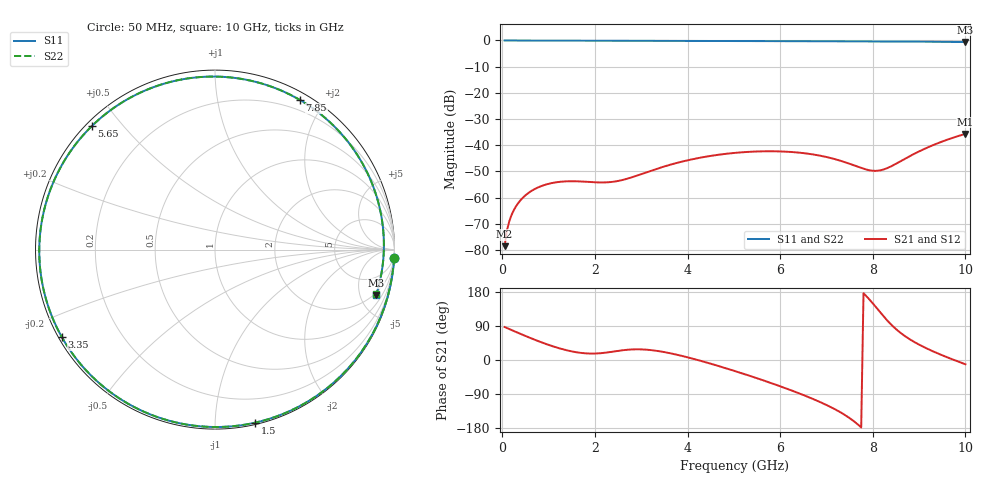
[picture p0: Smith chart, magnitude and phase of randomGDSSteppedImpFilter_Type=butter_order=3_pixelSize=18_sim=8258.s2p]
! freq	dB(S11)	phase(S11)	dB(S12)	phase(S12)
!  dB(S21)	phase(S21)	dB(S22)	phase(S22)
!S-par simulation data
#  GHz  S  DB  R 50
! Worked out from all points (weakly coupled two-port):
!   200 points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, 50 MHz to 10 GHz, reference 50 ohm
!   highest |S21| = -35.63 dB at 10 GHz (marker M1); lowest = -78.5 dB at 50 MHz (marker M2)
!   lowest |S11| = -0.6 dB at 10 GHz (marker M3), VSWR 28.70, Z = 87.4 - j340 ohm
!   |S11| at or under -10 dB: nowhere
!   |S22| runs from -0.6 to 0.0 dB; largest |S21 - S12| = 0
!   S11 on the Smith chart (normalised r, x): 50 MHz: 0, -43; 1.5 GHz: 0.01, -1.26; 3.35 GHz: 0.01, -0.26; 5.65 GHz: 0.02, +0.42; 7.85 GHz: 0.08, +1.72; 10 GHz: 1.75, -6.79
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0.05  -0.00 -2.7  -78.50 87.1  -78.50 87.1  -0.01 -2.6
0.1  -0.01 -5.4  -72.52 84.4  -72.52 84.4  -0.02 -5.3
0.2  -0.02 -10.8  -66.58 79.1  -66.58 79.1  -0.03 -10.8
0.3  -0.03 -16.2  -63.18 73.8  -63.18 73.8  -0.03 -16.2
0.45  -0.03 -24.2  -59.91 66.0  -59.91 66.0  -0.04 -24.2
0.9  -0.06 -47.7  -55.21 44.2  -55.21 44.2  -0.06 -47.7
1.5  -0.09 -76.8  -53.71 22.7  -53.71 22.7  -0.09 -76.9
1.75  -0.10 -88.2  -53.86 18.1  -53.86 18.1  -0.10 -88.2
2.45  -0.12 -117.3  -53.78 23.2  -53.78 23.2  -0.12 -117.3
3.35  -0.15 -150.4  -48.91 23.9  -48.91 23.9  -0.15 -150.3
3.4  -0.15 -152.1  -48.63 22.9  -48.63 22.9  -0.15 -152.1
4.2  -0.18 -178.7  -44.99 0.6  -44.99 0.6  -0.18 -178.7
5.05  -0.22 154.0  -42.85 -30.2  -42.85 -30.2  -0.22 154.1
5.65  -0.25 134.8  -42.30 -54.4  -42.30 -54.4  -0.25 134.9
6.2  -0.28 116.9  -42.51 -78.3  -42.51 -78.3  -0.28 117.1
6.7  -0.30 100.3  -43.46 -102.3  -43.46 -102.3  -0.30 100.4
7.3  -0.34 79.7  -45.89 -137.9  -45.89 -137.9  -0.33 79.9
7.85  -0.37 60.4  -49.21 170.0  -49.21 170.0  -0.37 60.6
8.1  -0.38 51.5  -49.71 134.7  -49.71 134.7  -0.38 51.7
8.35  -0.40 42.6  -48.42 99.3  -48.42 99.3  -0.40 42.8
9.2  -0.48 12.2  -40.71 28.5  -40.71 28.5  -0.48 12.4
10  -0.61 -15.7  -35.63 -11.2  -35.63 -11.2  -0.60 -15.5
